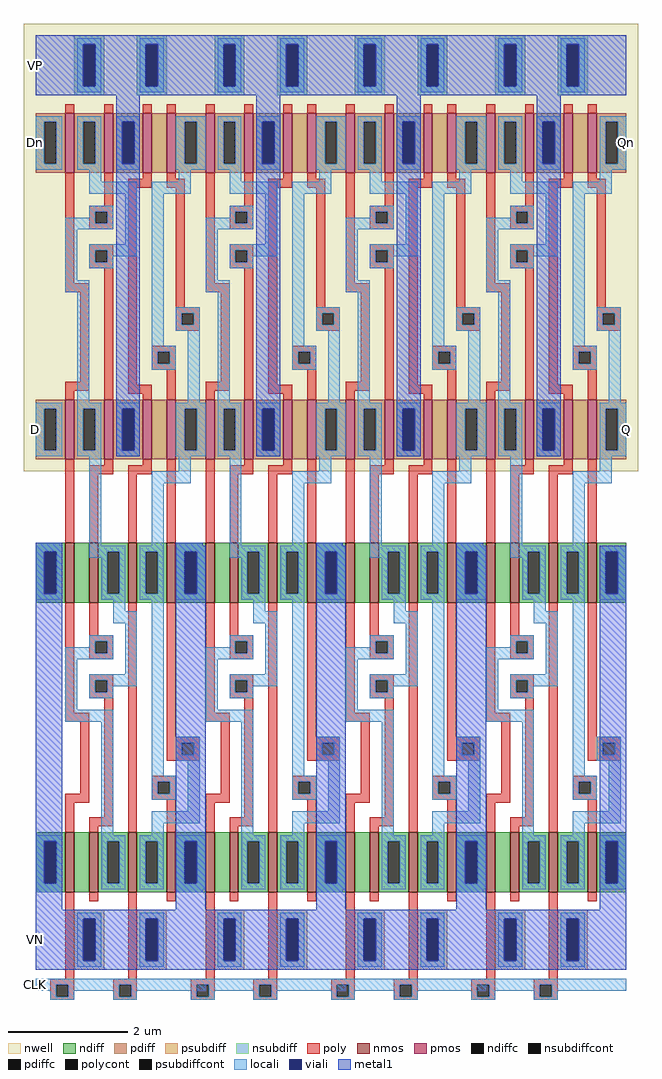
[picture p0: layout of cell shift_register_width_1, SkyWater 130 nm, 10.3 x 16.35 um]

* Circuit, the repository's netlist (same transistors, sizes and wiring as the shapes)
* SPICE3 file created from shift_register_width_1.ext - technology: sky130A

.subckt CSRL_D_FF_width_1 Dn D Qn Q CLK VP VN
X0 Qn Q a_290_2280# VP sky130_fd_pr__pfet_01v8 ad=5e+11p pd=3e+06u as=2.5e+11p ps=2.5e+06u w=1e+06u l=150000u
X1 a_30_840# CLK VN VN sky130_fd_pr__nfet_01v8 ad=2.5e+11p pd=2.5e+06u as=2e+12p ps=1.2e+07u w=1e+06u l=150000u
X2 VP a_30_1320# a_30_2280# VP sky130_fd_pr__pfet_01v8 ad=1e+12p pd=6e+06u as=5e+11p ps=3e+06u w=1e+06u l=150000u
X3 a_290_1320# CLK VP VP sky130_fd_pr__pfet_01v8 ad=2.5e+11p pd=2.5e+06u as=0p ps=0u w=1e+06u l=150000u
X4 VN Q Qn VN sky130_fd_pr__nfet_01v8 ad=0p pd=0u as=5e+11p ps=3e+06u w=1e+06u l=150000u
X5 a_30_1320# CLK D VP sky130_fd_pr__pfet_01v8 ad=5e+11p pd=3e+06u as=5e+11p ps=3e+06u w=1e+06u l=150000u
X6 Q CLK a_30_1320# VN sky130_fd_pr__nfet_01v8 ad=5e+11p pd=3e+06u as=5e+11p ps=3e+06u w=1e+06u l=150000u
X7 a_290_2280# CLK VP VP sky130_fd_pr__pfet_01v8 ad=0p pd=0u as=0p ps=0u w=1e+06u l=150000u
X8 Q Qn a_290_1320# VP sky130_fd_pr__pfet_01v8 ad=5e+11p pd=3e+06u as=0p ps=0u w=1e+06u l=150000u
X9 VP a_30_2280# a_30_1320# VP sky130_fd_pr__pfet_01v8 ad=0p pd=0u as=0p ps=0u w=1e+06u l=150000u
X10 a_30_2280# a_30_1320# a_30_n130# VN sky130_fd_pr__nfet_01v8 ad=5e+11p pd=3e+06u as=2.5e+11p ps=2.5e+06u w=1e+06u l=150000u
X11 a_30_2280# CLK Dn VP sky130_fd_pr__pfet_01v8 ad=0p pd=0u as=5e+11p ps=3e+06u w=1e+06u l=150000u
X12 a_30_1320# a_30_2280# a_30_840# VN sky130_fd_pr__nfet_01v8 ad=0p pd=0u as=0p ps=0u w=1e+06u l=150000u
X13 Qn CLK a_30_2280# VN sky130_fd_pr__nfet_01v8 ad=0p pd=0u as=0p ps=0u w=1e+06u l=150000u
X14 VN Qn Q VN sky130_fd_pr__nfet_01v8 ad=0p pd=0u as=0p ps=0u w=1e+06u l=150000u
X15 a_30_n130# CLK VN VN sky130_fd_pr__nfet_01v8 ad=0p pd=0u as=0p ps=0u w=1e+06u l=150000u
.ends


* Top level circuit shift_register_width_1

XCSRL_D_FF_width_1_0 Dn D CSRL_D_FF_width_1_1/Dn CSRL_D_FF_width_1_1/D CLK VP VN CSRL_D_FF_width_1
XCSRL_D_FF_width_1_1 CSRL_D_FF_width_1_1/Dn CSRL_D_FF_width_1_1/D CSRL_D_FF_width_1_2/Dn
+ CSRL_D_FF_width_1_2/D CLK VP VN CSRL_D_FF_width_1
XCSRL_D_FF_width_1_2 CSRL_D_FF_width_1_2/Dn CSRL_D_FF_width_1_2/D CSRL_D_FF_width_1_3/Dn
+ CSRL_D_FF_width_1_3/D CLK VP VN CSRL_D_FF_width_1
XCSRL_D_FF_width_1_3 CSRL_D_FF_width_1_3/Dn CSRL_D_FF_width_1_3/D Qn Q CLK VP VN CSRL_D_FF_width_1
.end

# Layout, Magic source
magic
tech sky130A
<< locali >>
rect 20 1390 35 1480
rect 995 1390 1010 1480
rect 20 910 35 1000
rect 995 910 1010 1000
rect 20 15 35 35
<< metal1 >>
rect 20 1515 50 1615
rect 20 50 50 150
use CSRL_D_FF_width_1  CSRL_D_FF_width_1_3 ~/Documents/MADVLSI-MP2/layout/width_1_transistors
transform 1 0 775 0 1 245
box -70 -245 255 1395
use CSRL_D_FF_width_1  CSRL_D_FF_width_1_2
transform 1 0 540 0 1 245
box -70 -245 255 1395
use CSRL_D_FF_width_1  CSRL_D_FF_width_1_1
transform 1 0 305 0 1 245
box -70 -245 255 1395
use CSRL_D_FF_width_1  CSRL_D_FF_width_1_0
transform 1 0 70 0 1 245
box -70 -245 255 1395
<< labels >>
rlabel metal1 20 1565 20 1565 7 VP
rlabel locali 20 1435 20 1435 7 Dn
rlabel locali 20 955 20 955 7 D
rlabel metal1 20 100 20 100 7 VN
rlabel locali 20 25 20 25 7 CLK
rlabel locali 1010 955 1010 955 3 Q
rlabel locali 1010 1435 1010 1435 3 Qn
<< end >>

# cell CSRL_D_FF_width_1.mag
magic
tech sky130A
<< nwell >>
rect -70 640 255 1390
<< nmos >>
rect 0 420 15 520
rect 40 420 55 520
rect 105 420 120 520
rect 170 420 185 520
rect 0 -65 15 35
rect 40 -65 55 35
rect 105 -65 120 35
rect 170 -65 185 35
<< pmos >>
rect 0 1140 15 1240
rect 65 1140 80 1240
rect 130 1140 145 1240
rect 170 1140 185 1240
rect 0 660 15 760
rect 65 660 80 760
rect 130 660 145 760
rect 170 660 185 760
<< ndiff >>
rect -50 505 0 520
rect -50 435 -35 505
rect -15 435 0 505
rect -50 420 0 435
rect 15 420 40 520
rect 55 505 105 520
rect 55 435 70 505
rect 90 435 105 505
rect 55 420 105 435
rect 120 505 170 520
rect 120 435 135 505
rect 155 435 170 505
rect 120 420 170 435
rect 185 505 235 520
rect 185 435 200 505
rect 220 435 235 505
rect 185 420 235 435
rect -50 20 0 35
rect -50 -50 -35 20
rect -15 -50 0 20
rect -50 -65 0 -50
rect 15 -65 40 35
rect 55 20 105 35
rect 55 -50 70 20
rect 90 -50 105 20
rect 55 -65 105 -50
rect 120 20 170 35
rect 120 -50 135 20
rect 155 -50 170 20
rect 120 -65 170 -50
rect 185 20 235 35
rect 185 -50 200 20
rect 220 -50 235 20
rect 185 -65 235 -50
<< pdiff >>
rect -50 1225 0 1240
rect -50 1155 -35 1225
rect -15 1155 0 1225
rect -50 1140 0 1155
rect 15 1225 65 1240
rect 15 1155 30 1225
rect 50 1155 65 1225
rect 15 1140 65 1155
rect 80 1225 130 1240
rect 80 1155 95 1225
rect 115 1155 130 1225
rect 80 1140 130 1155
rect 145 1140 170 1240
rect 185 1225 235 1240
rect 185 1155 200 1225
rect 220 1155 235 1225
rect 185 1140 235 1155
rect -50 745 0 760
rect -50 675 -35 745
rect -15 675 0 745
rect -50 660 0 675
rect 15 745 65 760
rect 15 675 30 745
rect 50 675 65 745
rect 15 660 65 675
rect 80 745 130 760
rect 80 675 95 745
rect 115 675 130 745
rect 80 660 130 675
rect 145 660 170 760
rect 185 745 235 760
rect 185 675 200 745
rect 220 675 235 745
rect 185 660 235 675
<< ndiffc >>
rect -35 435 -15 505
rect 70 435 90 505
rect 135 435 155 505
rect 200 435 220 505
rect -35 -50 -15 20
rect 70 -50 90 20
rect 135 -50 155 20
rect 200 -50 220 20
<< pdiffc >>
rect -35 1155 -15 1225
rect 30 1155 50 1225
rect 95 1155 115 1225
rect 200 1155 220 1225
rect -35 675 -15 745
rect 30 675 50 745
rect 95 675 115 745
rect 200 675 220 745
<< psubdiff >>
rect 15 -110 65 -95
rect 15 -180 30 -110
rect 50 -180 65 -110
rect 15 -195 65 -180
rect 120 -110 170 -95
rect 120 -180 135 -110
rect 155 -180 170 -110
rect 120 -195 170 -180
<< nsubdiff >>
rect 15 1355 65 1370
rect 15 1285 30 1355
rect 50 1285 65 1355
rect 15 1270 65 1285
rect 120 1355 170 1370
rect 120 1285 135 1355
rect 155 1285 170 1355
rect 120 1270 170 1285
<< psubdiffcont >>
rect 30 -180 50 -110
rect 135 -180 155 -110
<< nsubdiffcont >>
rect 30 1285 50 1355
rect 135 1285 155 1355
<< poly >>
rect 0 1240 15 1255
rect 65 1240 80 1255
rect 130 1240 145 1255
rect 170 1240 185 1255
rect 0 955 15 1140
rect 65 1085 80 1140
rect 130 1130 145 1140
rect 40 1075 80 1085
rect 40 1055 50 1075
rect 70 1055 80 1075
rect 40 1045 80 1055
rect 105 1115 145 1130
rect 170 1130 185 1140
rect 170 1115 200 1130
rect 40 1010 80 1020
rect 40 990 50 1010
rect 70 990 80 1010
rect 40 980 80 990
rect 0 940 40 955
rect 25 790 40 940
rect 0 775 40 790
rect 0 760 15 775
rect 65 760 80 980
rect 105 785 120 1115
rect 185 915 200 1115
rect 185 905 225 915
rect 185 885 195 905
rect 215 885 225 905
rect 185 875 225 885
rect 145 840 185 850
rect 145 820 155 840
rect 175 820 185 840
rect 145 810 185 820
rect 105 770 145 785
rect 130 760 145 770
rect 170 760 185 810
rect 0 520 15 660
rect 65 650 80 660
rect 130 650 145 660
rect 40 635 80 650
rect 105 635 145 650
rect 40 520 55 635
rect 105 520 120 635
rect 170 520 185 660
rect 0 235 15 420
rect 40 365 55 420
rect 40 355 80 365
rect 40 335 50 355
rect 70 335 80 355
rect 40 325 80 335
rect 40 290 80 300
rect 40 270 50 290
rect 70 270 80 290
rect 40 260 80 270
rect 0 220 40 235
rect 25 100 40 220
rect 0 85 40 100
rect 0 35 15 85
rect 65 60 80 260
rect 40 45 80 60
rect 40 35 55 45
rect 105 35 120 420
rect 170 195 185 420
rect 170 185 225 195
rect 170 165 195 185
rect 215 165 225 185
rect 170 155 225 165
rect 145 120 185 130
rect 145 100 155 120
rect 175 100 185 120
rect 145 90 185 100
rect 170 35 185 90
rect 0 -210 15 -65
rect 40 -80 55 -65
rect 105 -210 120 -65
rect 170 -80 185 -65
rect -25 -220 15 -210
rect -25 -240 -15 -220
rect 5 -240 15 -220
rect -25 -245 15 -240
rect 80 -220 120 -210
rect 80 -240 90 -220
rect 110 -240 120 -220
rect 80 -245 120 -240
<< polycont >>
rect 50 1055 70 1075
rect 50 990 70 1010
rect 195 885 215 905
rect 155 820 175 840
rect 50 335 70 355
rect 50 270 70 290
rect 195 165 215 185
rect 155 100 175 120
rect -15 -240 5 -220
rect 90 -240 110 -220
<< locali >>
rect 20 1355 60 1365
rect 20 1285 30 1355
rect 50 1285 60 1355
rect 20 1275 60 1285
rect 125 1355 165 1365
rect 125 1285 135 1355
rect 155 1285 165 1355
rect 125 1275 165 1285
rect -50 1225 -5 1235
rect -50 1155 -35 1225
rect -15 1155 -5 1225
rect -50 1145 -5 1155
rect 20 1225 60 1235
rect 20 1155 30 1225
rect 50 1155 60 1225
rect 20 1145 60 1155
rect 85 1225 125 1235
rect 85 1155 95 1225
rect 115 1155 125 1225
rect 85 1145 125 1155
rect 190 1225 235 1235
rect 190 1155 200 1225
rect 220 1155 235 1225
rect 190 1145 235 1155
rect 40 1125 60 1145
rect 190 1125 210 1145
rect 40 1105 120 1125
rect 40 1075 80 1085
rect 40 1065 50 1075
rect 0 1055 50 1065
rect 70 1055 80 1075
rect 0 1045 80 1055
rect 0 960 20 1045
rect 100 1020 120 1105
rect 40 1010 120 1020
rect 40 990 50 1010
rect 70 1000 120 1010
rect 145 1105 210 1125
rect 70 990 80 1000
rect 40 980 80 990
rect 0 940 40 960
rect 20 755 40 940
rect 145 850 165 1105
rect 185 905 225 915
rect 185 885 195 905
rect 215 885 225 905
rect 185 875 225 885
rect 145 840 185 850
rect 145 820 155 840
rect 175 820 185 840
rect 145 810 185 820
rect 205 755 225 875
rect -50 745 -5 755
rect -50 675 -35 745
rect -15 675 -5 745
rect -50 665 -5 675
rect 20 745 60 755
rect 20 675 30 745
rect 50 675 60 745
rect 20 665 60 675
rect 85 745 125 755
rect 85 675 95 745
rect 115 675 125 745
rect 85 665 125 675
rect 190 745 235 755
rect 190 675 200 745
rect 220 675 235 745
rect 190 665 235 675
rect -50 505 -5 520
rect -50 435 -35 505
rect -15 435 -5 505
rect 40 515 60 665
rect 190 640 210 665
rect 145 620 210 640
rect 145 515 165 620
rect 40 505 100 515
rect 40 495 70 505
rect -50 425 -5 435
rect 60 435 70 495
rect 90 435 100 505
rect 60 425 100 435
rect 125 505 165 515
rect 125 435 135 505
rect 155 435 165 505
rect 125 425 165 435
rect 190 505 235 515
rect 190 435 200 505
rect 220 435 235 505
rect 190 425 235 435
rect 80 405 100 425
rect 80 385 120 405
rect 40 355 80 365
rect 40 345 50 355
rect 0 335 50 345
rect 70 335 80 355
rect 0 325 80 335
rect 0 240 20 325
rect 100 300 120 385
rect 40 290 120 300
rect 40 270 50 290
rect 70 280 120 290
rect 70 270 80 280
rect 40 260 80 270
rect 0 220 80 240
rect 60 30 80 220
rect 145 130 165 425
rect 185 185 225 195
rect 185 165 195 185
rect 215 165 225 185
rect 185 155 225 165
rect 145 120 185 130
rect 145 100 155 120
rect 175 100 185 120
rect 145 90 185 100
rect 205 70 225 155
rect 145 50 225 70
rect 145 30 165 50
rect -50 20 -5 30
rect -50 -50 -35 20
rect -15 -50 -5 20
rect -50 -65 -5 -50
rect 60 20 100 30
rect 60 -50 70 20
rect 90 -50 100 20
rect 60 -60 100 -50
rect 125 20 165 30
rect 125 -50 135 20
rect 155 -50 165 20
rect 125 -60 165 -50
rect 190 20 235 30
rect 190 -50 200 20
rect 220 -50 235 20
rect 190 -60 235 -50
rect 20 -110 60 -100
rect 20 -180 30 -110
rect 50 -180 60 -110
rect 20 -190 60 -180
rect 125 -110 165 -100
rect 125 -180 135 -110
rect 155 -180 165 -110
rect 125 -190 165 -180
rect -50 -220 235 -210
rect -50 -230 -15 -220
rect -25 -240 -15 -230
rect 5 -230 90 -220
rect 5 -240 15 -230
rect -25 -245 15 -240
rect 80 -240 90 -230
rect 110 -230 235 -220
rect 110 -240 120 -230
rect 80 -245 120 -240
<< viali >>
rect 30 1285 50 1355
rect 135 1285 155 1355
rect 95 1155 115 1225
rect 95 675 115 745
rect -35 435 -15 505
rect 200 435 220 505
rect -35 -50 -15 20
rect 200 -50 220 20
rect 30 -180 50 -110
rect 135 -180 155 -110
<< metal1 >>
rect -50 1355 235 1370
rect -50 1285 30 1355
rect 50 1285 135 1355
rect 155 1285 235 1355
rect -50 1270 235 1285
rect 85 1225 125 1270
rect 85 1155 95 1225
rect 115 1155 125 1225
rect 85 745 125 1155
rect 85 675 95 745
rect 115 675 125 745
rect 85 665 125 675
rect -50 505 -5 520
rect -50 435 -35 505
rect -15 435 -5 505
rect -50 20 -5 435
rect -50 -50 -35 20
rect -15 -50 -5 20
rect -50 -95 -5 -50
rect 190 505 235 515
rect 190 435 200 505
rect 220 435 235 505
rect 190 20 235 435
rect 190 -50 200 20
rect 220 -50 235 20
rect 190 -95 235 -50
rect -50 -110 235 -95
rect -50 -180 30 -110
rect 50 -180 135 -110
rect 155 -180 235 -110
rect -50 -195 235 -180
<< labels >>
rlabel locali 235 710 235 710 3 Q
port 4 e
rlabel locali -50 710 -50 710 7 D
port 2 w
rlabel metal1 -50 -150 -50 -150 7 VN
port 7 w
rlabel locali -50 -220 -50 -220 7 CLK
port 5 w
rlabel locali 235 1190 235 1190 3 Qn
port 3 e
rlabel locali -50 1190 -50 1190 7 Dn
port 1 w
rlabel metal1 -50 1325 -50 1325 7 VP
port 6 w
<< end >>
